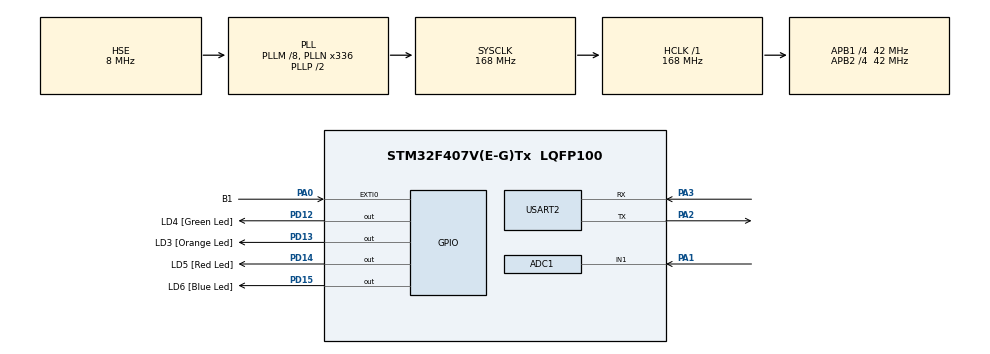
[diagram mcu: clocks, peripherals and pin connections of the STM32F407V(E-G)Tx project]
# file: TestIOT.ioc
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ADC1.Channel-0\#ChannelRegularConversion=ADC_CHANNEL_1
ADC1.ClockPrescaler=ADC_CLOCK_SYNC_PCLK_DIV4
ADC1.ExternalTrigConv=ADC_EXTERNALTRIGCONV_T2_TRGO
ADC1.NbrOfConversionFlag=1
ADC1.Rank-0\#ChannelRegularConversion=1
ADC1.SamplingTime-0\#ChannelRegularConversion=ADC_SAMPLETIME_3CYCLES
ADC1.master=1
Mcu.Family=STM32F4
Mcu.Name=STM32F407V(E-G)Tx
Mcu.Package=LQFP100
NVIC.ADC_IRQn=true\:0\:0\:false\:false\:true\:true\:true\:true
NVIC.EXTI0_IRQn=true\:0\:0\:false\:false\:true\:true\:true\:true
NVIC.PriorityGroup=NVIC_PRIORITYGROUP_0
NVIC.TIM2_IRQn=true\:0\:0\:false\:false\:true\:true\:true\:true
NVIC.USART2_IRQn=true\:0\:0\:false\:false\:true\:true\:true\:true
PA0-WKUP.GPIO_Label=B1
PA0-WKUP.Signal=GPXTI0
PA1.Signal=ADCx_IN1
PA2.GPIO_PuPd=GPIO_PULLUP
PA2.Mode=Asynchronous
PA2.Signal=USART2_TX
PA3.GPIO_PuPd=GPIO_PULLUP
PA3.Mode=Asynchronous
PA3.Signal=USART2_RX
PD12.GPIO_Label=LD4 [Green Led]
PD12.GPIO_PuPd=GPIO_NOPULL
PD12.GPIO_Speed=GPIO_SPEED_FREQ_LOW
PD12.Signal=GPIO_Output
PD13.GPIO_Label=LD3 [Orange Led]
PD13.GPIO_PuPd=GPIO_NOPULL
PD13.GPIO_Speed=GPIO_SPEED_FREQ_LOW
PD13.Signal=GPIO_Output
PD14.GPIO_Label=LD5 [Red Led]
PD14.GPIO_PuPd=GPIO_NOPULL
PD14.GPIO_Speed=GPIO_SPEED_FREQ_LOW
PD14.Signal=GPIO_Output
PD15.GPIO_Label=LD6 [Blue Led]
PD15.GPIO_PuPd=GPIO_NOPULL
PD15.GPIO_Speed=GPIO_SPEED_FREQ_LOW
PD15.Signal=GPIO_Output
PH0-OSC_IN.Mode=HSE-External-Oscillator
PH0-OSC_IN.Signal=RCC_OSC_IN
PH1-OSC_OUT.Mode=HSE-External-Oscillator
PH1-OSC_OUT.Signal=RCC_OSC_OUT
ProjectManager.HeapSize=0x200
ProjectManager.StackSize=0x400
ProjectManager.TargetToolchain=STM32CubeIDE
RCC.48MHZClocksFreq_Value=48000000
RCC.AHBFreq_Value=168000000
RCC.APB1CLKDivider=RCC_HCLK_DIV4
RCC.APB1Freq_Value=42000000
RCC.APB1TimFreq_Value=84000000
RCC.APB2CLKDivider=RCC_HCLK_DIV4
RCC.APB2Freq_Value=42000000
RCC.APB2TimFreq_Value=84000000
RCC.CortexFreq_Value=168000000
RCC.HCLKFreq_Value=168000000
RCC.HSE_VALUE=8000000
RCC.HSI_VALUE=16000000
RCC.LSE_VALUE=32768
RCC.PLLM=8
RCC.PLLN=336
RCC.PLLQ=7
RCC.PLLSourceVirtual=RCC_PLLSOURCE_HSE
RCC.SYSCLKFreq_VALUE=168000000
RCC.SYSCLKSource=RCC_SYSCLKSOURCE_PLLCLK
RCC.VCOOutputFreq_Value=336000000
SH.ADCx_IN1.0=ADC1_IN1,IN1
TIM2.Period=999
TIM2.Prescaler=1399
USART2.VirtualMode=VM_ASYNC
VP_TIM2_VS_ClockSourceINT.Mode=Internal
board=STM32F407G-DISC1

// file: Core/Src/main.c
/* USER CODE BEGIN Header */
/**
  ******************************************************************************
  * @file           : main.c
  * @brief          : Main program body
  ******************************************************************************
  * @attention
  *
  * Copyright (c) 2024 STMicroelectronics.
  * All rights reserved.
  *
  * This software is licensed under terms that can be found in the LICENSE file
  * in the root directory of this software component.
  * If no LICENSE file comes with this software, it is provided AS-IS.
  *
  *******************	***********************************************************
  */
/* USER CODE END Header */
#include "main.h"

/* USER CODE BEGIN Includes */
#include "string.h"
#include "stdio.h"
/* USER CODE END Includes */

ADC_HandleTypeDef hadc1;

TIM_HandleTypeDef htim2;

UART_HandleTypeDef huart2;

/* USER CODE BEGIN PV */

uint32_t adcValue=0;

volatile uint8_t adcConversionComplete = 0;
volatile uint8_t uartTransmissionComplete = 0;
volatile uint8_t timerElapsed = 0;
volatile uint8_t UART_DataIsReady = 0;
volatile uint8_t Counter=0;
volatile uint8_t Timerindex=0;

char CPU_Buffer [];
/* USER CODE END PV */

void SystemClock_Config(void);
static void MX_GPIO_Init(void);
static void MX_ADC1_Init(void);
static void MX_TIM2_Init(void);
static void MX_USART2_UART_Init(void);
/* USER CODE BEGIN PFP */
void ESP8266_Init(void);
void ESP8266_SendServer (char counter);
void ESP8266_Connect_To_WiFi (uint8_t * wifi_name, uint8_t * password);
void ESP8266_SendCommand (uint8_t * command);

/* USER CODE END PFP */

int main(void)
{

  /* MCU Configuration--------------------------------------------------------*/

  /* Reset of all peripherals, Initializes the Flash interface and the Systick. */
  HAL_Init();

  /* Configure the system clock */
  SystemClock_Config();

  /* Initialize all configured peripherals */
  MX_GPIO_Init();
  MX_ADC1_Init();
  MX_TIM2_Init();
  MX_USART2_UART_Init();
  /* USER CODE BEGIN 2 */
  ESP8266_Init();
  /* USER CODE END 2 */

  /* Infinite loop */
  while (1)
  {

    /* USER CODE BEGIN 3 */
	    /* Check the state of the push button */
		  if (timerElapsed==1)
	        {
	             timerElapsed = 0;
	         }

	      if (adcConversionComplete==1)
	         {
	             adcConversionComplete = 0;

	             ESP8266_SendServer(0);

	         }

	      if ((uartTransmissionComplete==1))
	         {
	        	if (Counter < 4)
	        	{
	        		Counter ++;
	        		ESP8266_SendServer(Counter);

	        	}
	        	else
	        	{
	        		HAL_GPIO_TogglePin(GPIOD,GPIO_PIN_12);
	        		HAL_TIM_Base_Start_IT(&htim2);
	        		Timerindex=2;
	        	}

	         }
	         HAL_GPIO_TogglePin(GPIOD,GPIO_PIN_15);
  }
  /* USER CODE END 3 */
}

void SystemClock_Config(void)
{
  RCC_OscInitTypeDef RCC_OscInitStruct = {0};
  RCC_ClkInitTypeDef RCC_ClkInitStruct = {0};

  /** Configure the main internal regulator output voltage
  */
  __HAL_RCC_PWR_CLK_ENABLE();
  __HAL_PWR_VOLTAGESCALING_CONFIG(PWR_REGULATOR_VOLTAGE_SCALE1);

  /** Initializes the RCC Oscillators according to the specified parameters
  * in the RCC_OscInitTypeDef structure.
  */
  RCC_OscInitStruct.OscillatorType = RCC_OSCILLATORTYPE_HSE;
  RCC_OscInitStruct.HSEState = RCC_HSE_ON;
  RCC_OscInitStruct.PLL.PLLState = RCC_PLL_ON;
  RCC_OscInitStruct.PLL.PLLSource = RCC_PLLSOURCE_HSE;
  RCC_OscInitStruct.PLL.PLLM = 8;
  RCC_OscInitStruct.PLL.PLLN = 336;
  RCC_OscInitStruct.PLL.PLLP = RCC_PLLP_DIV2;
  RCC_OscInitStruct.PLL.PLLQ = 7;
  if (HAL_RCC_OscConfig(&RCC_OscInitStruct) != HAL_OK)
  {
    Error_Handler();
  }

  /** Initializes the CPU, AHB and APB buses clocks
  */
  RCC_ClkInitStruct.ClockType = RCC_CLOCKTYPE_HCLK|RCC_CLOCKTYPE_SYSCLK
                              |RCC_CLOCKTYPE_PCLK1|RCC_CLOCKTYPE_PCLK2;
  RCC_ClkInitStruct.SYSCLKSource = RCC_SYSCLKSOURCE_PLLCLK;
  RCC_ClkInitStruct.AHBCLKDivider = RCC_SYSCLK_DIV1;
  RCC_ClkInitStruct.APB1CLKDivider = RCC_HCLK_DIV4;
  RCC_ClkInitStruct.APB2CLKDivider = RCC_HCLK_DIV4;

  if (HAL_RCC_ClockConfig(&RCC_ClkInitStruct, FLASH_LATENCY_5) != HAL_OK)
  {
    Error_Handler();
  }
}

static void MX_ADC1_Init(void)
{

  ADC_ChannelConfTypeDef sConfig = {0};

  /** Configure the global features of the ADC (Clock, Resolution, Data Alignment and number of conversion)
  */
  hadc1.Instance = ADC1;
  hadc1.Init.ClockPrescaler = ADC_CLOCK_SYNC_PCLK_DIV4;
  hadc1.Init.Resolution = ADC_RESOLUTION_12B;
  hadc1.Init.ScanConvMode = DISABLE;
  hadc1.Init.ContinuousConvMode = DISABLE;
  hadc1.Init.DiscontinuousConvMode = DISABLE;
  hadc1.Init.ExternalTrigConvEdge = ADC_EXTERNALTRIGCONVEDGE_RISING;
  hadc1.Init.ExternalTrigConv = ADC_EXTERNALTRIGCONV_T2_TRGO;
  hadc1.Init.DataAlign = ADC_DATAALIGN_RIGHT;
  hadc1.Init.NbrOfConversion = 1;
  hadc1.Init.DMAContinuousRequests = DISABLE;
  hadc1.Init.EOCSelection = ADC_EOC_SINGLE_CONV;
  if (HAL_ADC_Init(&hadc1) != HAL_OK)
  {
    Error_Handler();
  }

  /** Configure for the selected ADC regular channel its corresponding rank in the sequencer and its sample time.
  */
  sConfig.Channel = ADC_CHANNEL_1;
  sConfig.Rank = 1;
  sConfig.SamplingTime = ADC_SAMPLETIME_3CYCLES;
  if (HAL_ADC_ConfigChannel(&hadc1, &sConfig) != HAL_OK)
  {
    Error_Handler();
  }

}

static void MX_TIM2_Init(void)
{

  TIM_ClockConfigTypeDef sClockSourceConfig = {0};
  TIM_MasterConfigTypeDef sMasterConfig = {0};

  htim2.Instance = TIM2;
  htim2.Init.Prescaler = 1399;
  htim2.Init.CounterMode = TIM_COUNTERMODE_UP;
  htim2.Init.Period = 999;
  htim2.Init.ClockDivision = TIM_CLOCKDIVISION_DIV1;
  htim2.Init.AutoReloadPreload = TIM_AUTORELOAD_PRELOAD_DISABLE;
  if (HAL_TIM_Base_Init(&htim2) != HAL_OK)
  {
    Error_Handler();
  }
  sClockSourceConfig.ClockSource = TIM_CLOCKSOURCE_INTERNAL;
  if (HAL_TIM_ConfigClockSource(&htim2, &sClockSourceConfig) != HAL_OK)
  {
    Error_Handler();
  }
  sMasterConfig.MasterOutputTrigger = TIM_TRGO_RESET;
  sMasterConfig.MasterSlaveMode = TIM_MASTERSLAVEMODE_DISABLE;
  if (HAL_TIMEx_MasterConfigSynchronization(&htim2, &sMasterConfig) != HAL_OK)
  {
    Error_Handler();
  }

}

static void MX_USART2_UART_Init(void)
{

  huart2.Instance = USART2;
  huart2.Init.BaudRate = 115200;
  huart2.Init.WordLength = UART_WORDLENGTH_8B;
  huart2.Init.StopBits = UART_STOPBITS_1;
  huart2.Init.Parity = UART_PARITY_NONE;
  huart2.Init.Mode = UART_MODE_TX_RX;
  huart2.Init.HwFlowCtl = UART_HWCONTROL_NONE;
  huart2.Init.OverSampling = UART_OVERSAMPLING_16;
  if (HAL_UART_Init(&huart2) != HAL_OK)
  {
    Error_Handler();
  }

}

static void MX_GPIO_Init(void)
{
  GPIO_InitTypeDef GPIO_InitStruct = {0};

  /* GPIO Ports Clock Enable */
  __HAL_RCC_GPIOH_CLK_ENABLE();
  __HAL_RCC_GPIOA_CLK_ENABLE();
  __HAL_RCC_GPIOD_CLK_ENABLE();

  /*Configure GPIO pin Output Level */
  HAL_GPIO_WritePin(GPIOD, LD4_Pin|LD3_Pin|LD5_Pin|LD6_Pin, GPIO_PIN_RESET);

  /*Configure GPIO pin : B1_Pin */
  GPIO_InitStruct.Pin = B1_Pin;
  GPIO_InitStruct.Mode = GPIO_MODE_IT_RISING;
  GPIO_InitStruct.Pull = GPIO_NOPULL;
  HAL_GPIO_Init(B1_GPIO_Port, &GPIO_InitStruct);

  /*Configure GPIO pins : LD4_Pin LD3_Pin LD5_Pin LD6_Pin */
  GPIO_InitStruct.Pin = LD4_Pin|LD3_Pin|LD5_Pin|LD6_Pin;
  GPIO_InitStruct.Mode = GPIO_MODE_OUTPUT_PP;
  GPIO_InitStruct.Pull = GPIO_NOPULL;
  GPIO_InitStruct.Speed = GPIO_SPEED_FREQ_LOW;
  HAL_GPIO_Init(GPIOD, &GPIO_InitStruct);

  /* EXTI interrupt init*/
  HAL_NVIC_SetPriority(EXTI0_IRQn, 0, 0);
  HAL_NVIC_EnableIRQ(EXTI0_IRQn);

}

/* USER CODE BEGIN 4 */

/* Configure the ESP8266 - Set the WiFi */
void ESP8266_Init(void)
{
	//char result [50];

  ESP8266_SendCommand ((uint8_t*)__RST);
  HAL_Delay(2000);
  ESP8266_SendCommand ((uint8_t*)__AT);
  ESP8266_SendCommand ((uint8_t*)__CWMODE);
  ESP8266_Connect_To_WiFi((uint8_t*)WIFI_NAME,(uint8_t*)WIFI_PASSWORD);
  HAL_Delay(4000);
}
void ESP8266_SendServer (char counter)
{
	uint8_t __CIPSEND[20]  =  "";
	char BUFFER_TO_SEND[100];
	uartTransmissionComplete=0;

	if(counter ==0)
	{
		ESP8266_SendCommand ((uint8_t*)__CIPSTART);
	}
  memset (BUFFER_TO_SEND, '\0',sizeof(BUFFER_TO_SEND));
  snprintf(BUFFER_TO_SEND,sizeof(BUFFER_TO_SEND),"%s&field1=%d\r\n",__SERVER_IP_WRITE,(char)adcValue);
  snprintf((char*)__CIPSEND,sizeof(BUFFER_TO_SEND),"AT+CIPSEND=%d\r\n",strlen(BUFFER_TO_SEND));
  if(counter ==1)
  {
	  ESP8266_SendCommand ((uint8_t*)__CIPSEND);
  }
  if(counter ==2)
  {
	  ESP8266_SendCommand((uint8_t*)&BUFFER_TO_SEND[0]);
  }
  if(counter ==3)
  {
	  ESP8266_SendCommand((uint8_t*)__CIPCLOSE);
  HAL_Delay(15000);
  }

}

void ESP8266_Connect_To_WiFi (uint8_t * wifi_name, uint8_t * password)
{
  uint8_t wifi_Command[40];

  sprintf((char*)wifi_Command,"AT+CWJAP=\"%s\",\"%s\"\r\n",wifi_name,password);
  ESP8266_SendCommand(wifi_Command);
}

void ESP8266_SendCommand (uint8_t * command)
{

  if(HAL_UART_Transmit_IT(&huart2,command,strlen((const char*)command))!=HAL_OK)
		{
			Error_Handler();
		}
	HAL_Delay(50);

}

/**
  * @brief  Tx Transfer completed callbacks.
  * @param  huart  Pointer to a UART_HandleTypeDef structure that contains
  *                the configuration information for the specified UART module.
  * @retval None
  */
void HAL_UART_TxCpltCallback(UART_HandleTypeDef *huart)
{
	uartTransmissionComplete=1;
	HAL_GPIO_TogglePin(GPIOD,GPIO_PIN_13);
	uartTransmissionComplete=0;

}
/**
  * @brief  Regular conversion complete callback in non blocking mode
  * @param  hadc pointer to a ADC_HandleTypeDef structure that contains
  *         the configuration information for the specified ADC.
  * @retval None
  */
 void HAL_ADC_ConvCpltCallback(ADC_HandleTypeDef *hadc)
{

	 HAL_GPIO_TogglePin(GPIOD,GPIO_PIN_13);
	 if (hadc->Instance == ADC1)
	 {

	    adcValue = HAL_ADC_GetValue(hadc);

		if (HAL_ADC_Stop_IT(&hadc1)!= HAL_OK)
		{
			Error_Handler();
		}
		Counter=1;
	 }

}

 /**
   * @brief  Period elapsed callback in non-blocking mode
   * @param  htim TIM handle
   * @retval None
   */
  void HAL_TIM_PeriodElapsedCallback(TIM_HandleTypeDef *htim)
 {
	if (Timerindex>=1)
	{
		if ( HAL_TIM_Base_Stop_IT(&htim2)!=HAL_OK)
		{
			Error_Handler();
		}
	}
	  HAL_GPIO_TogglePin(GPIOD,GPIO_PIN_13);
	  timerElapsed=1;
	  if (HAL_ADC_Start_IT(&hadc1)!= HAL_OK)
			{
		    	Error_Handler();
			}
 }
  /**
    * @brief  EXTI line detection callbacks.
    * @param  GPIO_Pin Specifies the pins connected EXTI line
    * @retval None
    */
  void HAL_GPIO_EXTI_Callback(uint16_t GPIO_Pin)
  {

	  HAL_GPIO_TogglePin(GPIOD,GPIO_PIN_13);
	  if (Timerindex==0)
	  {
		  Timerindex=1;
	  if (HAL_TIM_Base_Start_IT(&htim2)!= HAL_OK)
			{
		    	Error_Handler();
			}
	  }
  }

/* USER CODE END 4 */

void Error_Handler(void)
{
  /* USER CODE BEGIN Error_Handler_Debug */
  /* User can add his own implementation to report the HAL error return state */
	HAL_GPIO_WritePin(GPIOD, GPIO_PIN_14, 1);
  __disable_irq();
  while (1)
  {
  }
  /* USER CODE END Error_Handler_Debug */
}
